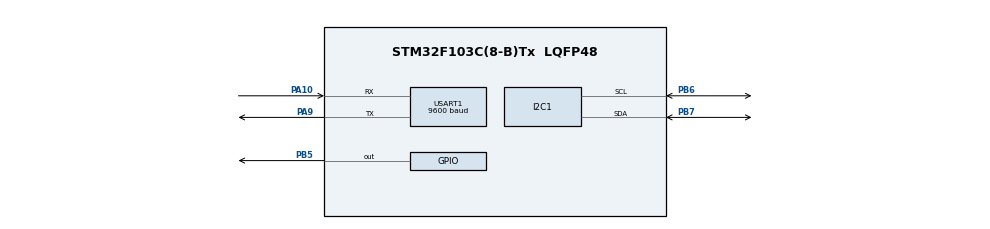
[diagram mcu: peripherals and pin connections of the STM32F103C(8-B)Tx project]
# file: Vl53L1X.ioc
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Mcu.Family=STM32F1
Mcu.Name=STM32F103C(8-B)Tx
Mcu.Package=LQFP48
NVIC.I2C1_ER_IRQn=true\:0\:0\:false\:false\:true\:true\:true
NVIC.I2C1_EV_IRQn=true\:0\:0\:false\:false\:true\:true\:true
NVIC.PriorityGroup=NVIC_PRIORITYGROUP_4
NVIC.USART1_IRQn=true\:0\:0\:false\:false\:true\:true\:true
PA10.Mode=Asynchronous
PA10.Signal=USART1_RX
PA13.Mode=Serial_Wire
PA13.Signal=SYS_JTMS-SWDIO
PA14.Mode=Serial_Wire
PA14.Signal=SYS_JTCK-SWCLK
PA9.Mode=Asynchronous
PA9.Signal=USART1_TX
PB5.Signal=GPIO_Output
PB6.Mode=I2C
PB6.Signal=I2C1_SCL
PB7.Mode=I2C
PB7.Signal=I2C1_SDA
ProjectManager.HeapSize=0x200
ProjectManager.StackSize=0x400
ProjectManager.TargetToolchain=MDK-ARM V5
RCC.APB1Freq_Value=8000000
RCC.APB2Freq_Value=8000000
USART1.BaudRate=9600
USART1.VirtualMode=VM_ASYNC
board=custom

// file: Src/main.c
/* USER CODE BEGIN Header */
/**
  ******************************************************************************
  * @file           : main.c
  * @brief          : Main program body
  ******************************************************************************
  * @attention
  *
  * <h2><center>&copy; Copyright (c) 2019 STMicroelectronics.
  * All rights reserved.</center></h2>
  *
  * This software component is licensed by ST under BSD 3-Clause license,
  * the "License"; You may not use this file except in compliance with the
  * License. You may obtain a copy of the License at:
  *                        opensource.org/licenses/BSD-3-Clause
  *
  ******************************************************************************
  */
/* USER CODE END Header */

#include "main.h"

/* USER CODE BEGIN Includes */
#include "VL53L1X_api.h"
#include "VL53L1X_calibration.h"
/* USER CODE END Includes */

/* USER CODE BEGIN PD */

#define VL53L1X_INT_Pin GPIO_PIN_4

#define PUTCHAR_PROTOTYPE int fputc(int ch, FILE *f)  //prototype cho ham printf()

// People Counting defines
#define NOBODY 0
#define SOMEONE 1
#define LEFT 0
#define RIGHT 1

#define DIST_THRESHOLD_MAX  1780

#define isInterrupt 1 /* If isInterrupt = 1 then device working in interrupt mode, else device working in polling mode */

/* USER CODE END PD */

I2C_HandleTypeDef hi2c1;

UART_HandleTypeDef huart1;

/* USER CODE BEGIN PV */
uint16_t	dev=0x52;   //dia chi cua VL53L1X
int status = 0;       //kiem tra loi
volatile int IntCount;

/* USER CODE END PV */

void SystemClock_Config(void);
static void MX_GPIO_Init(void);
static void MX_I2C1_Init(void);
static void MX_USART1_UART_Init(void);

/* USER CODE BEGIN 0 */
//Su dung ham printf() cho UART

PUTCHAR_PROTOTYPE
{
	HAL_UART_Transmit(&huart1, (uint8_t*)&ch, 1, 0xFFFF);
	return ch;
}

//Callback() cho External Interru[t
void HAL_GPIO_EXTI_Callback(uint16_t GPIO_Pin)
{
	if (GPIO_Pin==VL53L1X_INT_Pin)
	{
		IntCount++;
	}
}

//Ham tinh nguoi voi tham so la khoang cach va vung(Trai or Phai)
int ProcessPeopleCountingData(int16_t Distance, uint8_t zone) {
    static int PathTrack[] = {0,0,0,0};
    static int PathTrackFillingSize = 1; // init this to 1 as we start from state where nobody is any of the zones
    static int LeftPreviousStatus = NOBODY;
    static int RightPreviousStatus = NOBODY;
    static int PeopleCount = 0;

    int CurrentZoneStatus = NOBODY;  //SOMEONE
    int AllZonesCurrentStatus = 0;    // Kiem tra xem dang nam trong vung nao thong qua trong so tung vung
    int AnEventHasOccured = 0;  // = 1 thi co su kien tu vung nay sang vung khac, = 0 thi khong co su kien

	if (Distance < DIST_THRESHOLD_MAX) {
		// Someone is in !
		CurrentZoneStatus = SOMEONE;
	}

	// left zone
	if (zone == LEFT) {

		if (CurrentZoneStatus != LeftPreviousStatus)   // Neu (CurrentZoneStatus == LeftPreviousStatus == SOMEONE) thi bo qua
		{
			// event in left zone has occured
			AnEventHasOccured = 1;

			if (CurrentZoneStatus == SOMEONE) {
				AllZonesCurrentStatus += 1;          //Vung LEFT co trong so la 1
			}
			// need to check right zone as well ...
			if (RightPreviousStatus == SOMEONE)    //Kiem tra no co nam trong vung giao khong
			{
				// event in left zone has occured
				AllZonesCurrentStatus += 2;
			}
			// remember for next time
			LeftPreviousStatus = CurrentZoneStatus;
		}
	}
	// right zone
	else {

		if (CurrentZoneStatus != RightPreviousStatus)  // Neu (CurrentZoneStatus == LeftPreviousStatus == SOMEONE) thi bo qua
		{

			// event in left zone has occured
			AnEventHasOccured = 1;

			if (CurrentZoneStatus == SOMEONE) {
				AllZonesCurrentStatus += 2;         //Vung RIGHT co trong so la 2
			}
			// need to left right zone as well ...
			if (LeftPreviousStatus == SOMEONE) 		//Kiem tra no co nam trong vung giao khong
			{
				// event in left zone has occured
				AllZonesCurrentStatus += 1;
			}
			// remember for next time
			RightPreviousStatus = CurrentZoneStatus;
		}
	}

	// if an event has occured
	if (AnEventHasOccured) {
		if (PathTrackFillingSize < 4) {
			PathTrackFillingSize ++;
		}

		// if nobody anywhere lets check if an exit or entry has happened
		if ((LeftPreviousStatus == NOBODY) && (RightPreviousStatus == NOBODY)) {

			// check exit or entry only if PathTrackFillingSize is 4 (for example 0 1 3 2) and last event is 0 (nobobdy anywhere)
			if (PathTrackFillingSize == 4) {
				// check exit or entry. no need to check PathTrack[0] == 0 , it is always the case

				if ((PathTrack[1] == 1)  && (PathTrack[2] == 3) && (PathTrack[3] == 2)) {
					// This an entry
					PeopleCount ++;

				} else if ((PathTrack[1] == 2)  && (PathTrack[2] == 3) && (PathTrack[3] == 1)) {
					// This an exit
					PeopleCount --;
				}
			}

			PathTrackFillingSize = 1;
		}
		else {
			// update PathTrack
			// example of PathTrack update
			// 0
			// 0 1
			// 0 1 3
			// 0 1 3 1
			// 0 1 3 3
			// 0 1 3 2 ==> if next is 0 : check if exit
			PathTrack[PathTrackFillingSize-1] = AllZonesCurrentStatus;
		}
	}

	// output debug data to main host machine
	return(PeopleCount);

}

/* USER CODE END 0 */

int main(void)
{
  /* USER CODE BEGIN 1 */
	int io_2v8 = 1;  //2V8 mode
  uint8_t byteData, sensorState=0;
  uint16_t wordData;
  uint16_t Distance;
  uint8_t RangeStatus;
  uint8_t dataReady;
  int center[2] = {167,231}; /* these are the SPAD center of the 2 8*16 zones */
  int Zone = 0;
  int PplCounter = 0;
  /* USER CODE END 1 */

  /* MCU Configuration--------------------------------------------------------*/

  /* Reset of all peripherals, Initializes the Flash interface and the Systick. */
  HAL_Init();

  /* Configure the system clock */
  SystemClock_Config();

  /* Initialize all configured peripherals */
  MX_GPIO_Init();
  MX_I2C1_Init();
  MX_USART1_UART_Init();
  /* USER CODE BEGIN 2 */

	// Those basic I2C read functions can be used to check your own I2C functions */

  status = VL53L1_RdByte(dev, 0x010F, &byteData);
  printf("VL53L1X Model_ID: %X\n", byteData);
  status = VL53L1_RdByte(dev, 0x0110, &byteData);
  printf("VL53L1X Module_Type: %X\n", byteData);
  status = VL53L1_RdWord(dev, 0x010F, &wordData);
  printf("VL53L1X: %X\n", wordData);
  while (sensorState == 0)
  {
      status = VL53L1X_BootState(dev, &sensorState);
      HAL_Delay(2);
  }
	HAL_GPIO_WritePin(GPIOB, GPIO_PIN_5, 1);
  printf("Chip booted\n");
  /* Initialize and configure the device according to people counting need */
  status = VL53L1X_SensorInit(dev);
	if (io_2v8)  //2V8 mode
  {
		uint8_t i;
		status = VL53L1_RdByte(dev, 0x002E, &i);
		if (status == 0) {
			i = (i & 0xfe) | 0x01;
			status = VL53L1_WrByte(dev, 0x002E,i);
		}
  }
  status += VL53L1X_SetDistanceMode(dev, 2); /* 1=short, 2=long */
  status += VL53L1X_SetTimingBudgetInMs(dev, 50); /* in ms possible values [20, 50, 100, 200, 500] */
  status += VL53L1X_SetInterMeasurementInMs(dev, 54);
  status += VL53L1X_SetROI(dev, 8, 16); /* minimum ROI 4,4 */
  if (status != 0)
	{
      printf("Error in Initialization or configuration of the device\n");
      return (-1);
  }
  printf("Start counting people  ...\n");
  status = VL53L1X_StartRanging(dev);   /* This function has to be called to enable the ranging */

  /* USER CODE END 2 */

  /* Infinite loop */
  while (1)
  {

    /* USER CODE BEGIN 3 */
		/* read and display data */
    while (dataReady == 0)
		{
			status = VL53L1X_CheckForDataReady(dev, &dataReady);
			HAL_Delay(2);
    }

		dataReady = 0;
		status += VL53L1X_GetRangeStatus(dev, &RangeStatus);
		status += VL53L1X_GetDistance(dev, &Distance);
		status += VL53L1X_ClearInterrupt(dev); /* clear interrupt has to be called to enable next interrupt*/
		if (status != 0) {
			printf("Error in operating the device\n");
			return (-1);
		}

		// wait a couple of milliseconds to ensure the setting of the new ROI center for the next ranging is effective
		// otherwise there is a risk that this setting is applied to current ranging (even if timing has expired, the intermeasurement
		// may expire immediately after.
		HAL_Delay(10);
		status = VL53L1X_SetROICenter(dev, center[Zone]);
		if (status != 0) {
			printf("Error in chaning the center of the ROI\n");
			return (-1);
		}

		// inject the new ranged distance in the people counting algorithm
		PplCounter = ProcessPeopleCountingData(Distance, Zone);

		Zone++;
		Zone = Zone%2;

		printf("%d, %d, %d, %d\n", Zone, RangeStatus, Distance, PplCounter);
  }
  /* USER CODE END 3 */
}

void SystemClock_Config(void)
{
  RCC_OscInitTypeDef RCC_OscInitStruct = {0};
  RCC_ClkInitTypeDef RCC_ClkInitStruct = {0};

  /** Initializes the CPU, AHB and APB busses clocks
  */
  RCC_OscInitStruct.OscillatorType = RCC_OSCILLATORTYPE_HSI;
  RCC_OscInitStruct.HSIState = RCC_HSI_ON;
  RCC_OscInitStruct.HSICalibrationValue = RCC_HSICALIBRATION_DEFAULT;
  RCC_OscInitStruct.PLL.PLLState = RCC_PLL_NONE;
  if (HAL_RCC_OscConfig(&RCC_OscInitStruct) != HAL_OK)
  {
    Error_Handler();
  }
  /** Initializes the CPU, AHB and APB busses clocks
  */
  RCC_ClkInitStruct.ClockType = RCC_CLOCKTYPE_HCLK|RCC_CLOCKTYPE_SYSCLK
                              |RCC_CLOCKTYPE_PCLK1|RCC_CLOCKTYPE_PCLK2;
  RCC_ClkInitStruct.SYSCLKSource = RCC_SYSCLKSOURCE_HSI;
  RCC_ClkInitStruct.AHBCLKDivider = RCC_SYSCLK_DIV1;
  RCC_ClkInitStruct.APB1CLKDivider = RCC_HCLK_DIV1;
  RCC_ClkInitStruct.APB2CLKDivider = RCC_HCLK_DIV1;

  if (HAL_RCC_ClockConfig(&RCC_ClkInitStruct, FLASH_LATENCY_0) != HAL_OK)
  {
    Error_Handler();
  }
}

static void MX_I2C1_Init(void)
{

  hi2c1.Instance = I2C1;
  hi2c1.Init.ClockSpeed = 100000;
  hi2c1.Init.DutyCycle = I2C_DUTYCYCLE_2;
  hi2c1.Init.OwnAddress1 = 0;
  hi2c1.Init.AddressingMode = I2C_ADDRESSINGMODE_7BIT;
  hi2c1.Init.DualAddressMode = I2C_DUALADDRESS_DISABLE;
  hi2c1.Init.OwnAddress2 = 0;
  hi2c1.Init.GeneralCallMode = I2C_GENERALCALL_DISABLE;
  hi2c1.Init.NoStretchMode = I2C_NOSTRETCH_DISABLE;
  if (HAL_I2C_Init(&hi2c1) != HAL_OK)
  {
    Error_Handler();
  }

}

static void MX_USART1_UART_Init(void)
{

  huart1.Instance = USART1;
  huart1.Init.BaudRate = 9600;
  huart1.Init.WordLength = UART_WORDLENGTH_8B;
  huart1.Init.StopBits = UART_STOPBITS_1;
  huart1.Init.Parity = UART_PARITY_NONE;
  huart1.Init.Mode = UART_MODE_TX_RX;
  huart1.Init.HwFlowCtl = UART_HWCONTROL_NONE;
  huart1.Init.OverSampling = UART_OVERSAMPLING_16;
  if (HAL_UART_Init(&huart1) != HAL_OK)
  {
    Error_Handler();
  }

}

static void MX_GPIO_Init(void)
{
  GPIO_InitTypeDef GPIO_InitStruct = {0};

  /* GPIO Ports Clock Enable */
  __HAL_RCC_GPIOA_CLK_ENABLE();
  __HAL_RCC_GPIOB_CLK_ENABLE();

  /*Configure GPIO pin Output Level */
  HAL_GPIO_WritePin(GPIOB, GPIO_PIN_5, GPIO_PIN_RESET);

  /*Configure GPIO pin : PB5 */
  GPIO_InitStruct.Pin = GPIO_PIN_5;
  GPIO_InitStruct.Mode = GPIO_MODE_OUTPUT_PP;
  GPIO_InitStruct.Pull = GPIO_NOPULL;
  GPIO_InitStruct.Speed = GPIO_SPEED_FREQ_LOW;
  HAL_GPIO_Init(GPIOB, &GPIO_InitStruct);

}

void Error_Handler(void)
{
}

/************************ (C) COPYRIGHT STMicroelectronics *****END OF FILE****/
